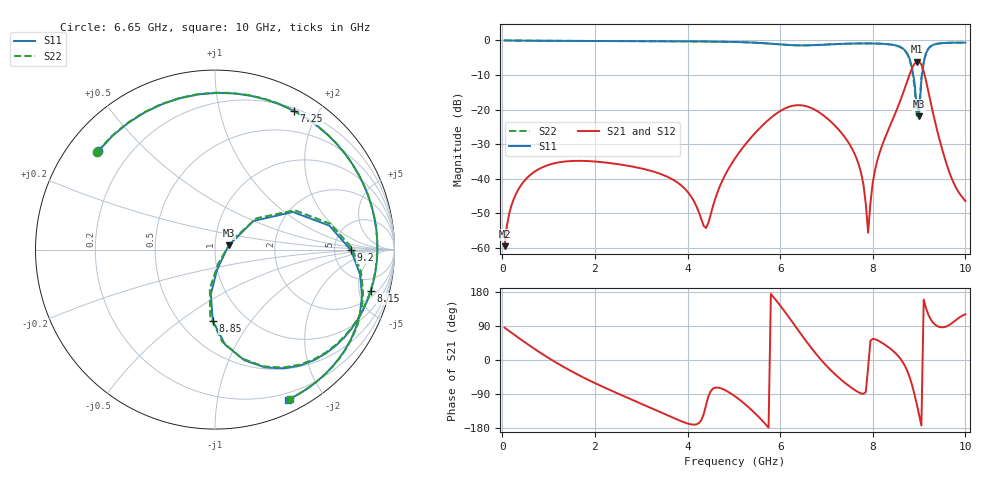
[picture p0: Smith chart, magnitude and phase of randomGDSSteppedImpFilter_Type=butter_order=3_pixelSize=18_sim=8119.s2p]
! freq	dB(S11)	phase(S11)	dB(S12)	phase(S12)
!  dB(S21)	phase(S21)	dB(S22)	phase(S22)
!S-par simulation data
#  GHz  S  DB  R 50
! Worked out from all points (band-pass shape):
!   200 points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, 50 MHz to 10 GHz, reference 50 ohm
!   highest |S21| = -6.11 dB at 8.95 GHz (marker M1); lowest = -59.6 dB at 50 MHz (marker M2)
!   |S21| within 3 dB of the highest: 8.816 GHz to 9.104 GHz (287.1 MHz wide, 3.2 % of centre)
!   lowest |S11| = -22.0 dB at 9 GHz (marker M3), VSWR 1.17, Z = 58.2 + j2.77 ohm
!   |S11| at or under -10 dB: 8.875 GHz to 9.064 GHz (189.9 MHz wide, 2.12 % of centre)
!   |S22| runs from -21.8 to 0.0 dB; largest |S21 - S12| = 0
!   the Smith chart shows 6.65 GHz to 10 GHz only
!   S11 on the Smith chart (normalised r, x): 6.65 GHz: 0.09, +0.36; 7.25 GHz: 0.23, +1.70; 8.15 GHz: 2.73, -6.52; 8.85 GHz: 0.71, -0.67; 9.2 GHz: 7.27, -0.13; 10 GHz: 0.13, -1.59
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0.05  -0.01 -4.6  -59.55 85.3  -59.55 85.3  -0.01 -4.6
0.5  -0.06 -44.3  -40.28 45.7  -40.28 45.7  -0.06 -44.3
1.1  -0.11 -93.2  -35.64 -2.2  -35.64 -2.2  -0.11 -93.2
1.75  -0.15 -139.7  -34.87 -46.1  -34.87 -46.1  -0.15 -139.5
2.55  -0.18 169.5  -35.92 -91.4  -35.92 -91.4  -0.18 169.9
3.4  -0.22 117.6  -38.56 -136.9  -38.56 -136.9  -0.22 118.1
4.4  -0.31 51.2  -54.30 -118.8  -54.30 -118.8  -0.31 51.7
5.05  -0.45 -0.7  -33.65 -98.0  -33.65 -98.0  -0.46 -0.5
5.9  -1.04 -97.3  -21.34 159.5  -21.34 159.5  -1.04 -97.7
6.3  -1.40 -161.3  -18.84 93.9  -18.84 93.9  -1.39 -161.5
6.65  -1.40 139.8  -19.44 35.4  -19.44 35.4  -1.39 140.4
6.7  -1.38 131.9  -19.73 27.5  -19.73 27.5  -1.36 132.6
7.25  -1.02 60.3  -25.61 -45.0  -25.61 -45.0  -1.02 61.5
7.7  -0.87 19.0  -36.06 -85.6  -36.06 -85.6  -0.87 20.2
7.9  -0.86 3.5  -55.66 -18.9  -55.66 -18.9  -0.87 4.6
8.15  -0.93 -14.9  -32.42 48.9  -32.42 48.9  -0.94 -14.0
8.35  -1.12 -30.1  -25.41 32.8  -25.41 32.8  -1.13 -29.4
8.85  -8.02 -91.8  -7.99 -66.8  -7.99 -66.8  -8.56 -94.1
8.95  -18.93 -84.3  -6.11 -116.1  -6.11 -116.1  -21.79 -77.5
9  -21.95 17.2  -6.12 -143.9  -6.12 -143.9  -19.65 28.1
9.2  -2.40 -0.3  -14.80 119.5  -14.80 119.5  -2.36 0.7
10  -0.63 -64.2  -46.49 120.7  -46.49 120.7  -0.63 -63.3
